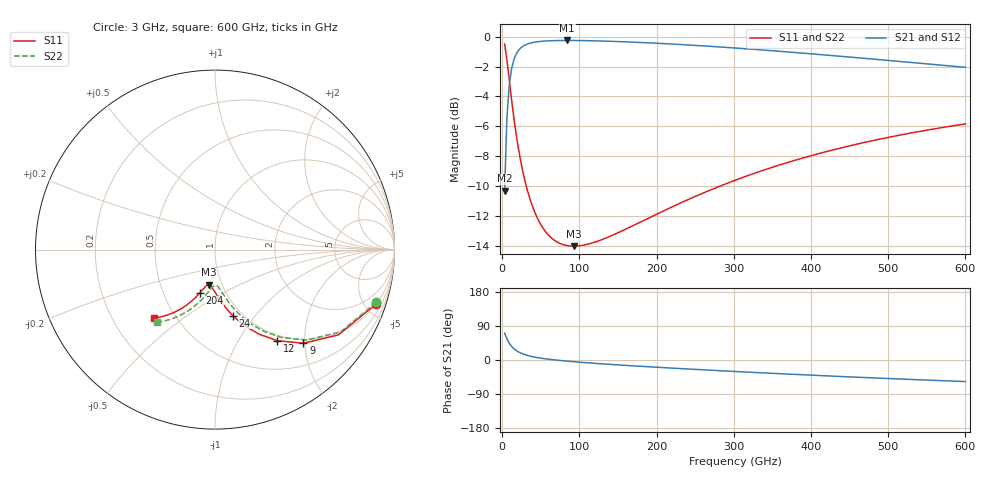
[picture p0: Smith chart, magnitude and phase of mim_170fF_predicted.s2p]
#  Hz  S  RI  R  50
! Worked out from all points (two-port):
!   200 points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, 3 GHz to 600 GHz, reference 50 ohm
!   highest |S21| = -0.25 dB at 84 GHz (marker M1); lowest = -10.3 dB at 3 GHz (marker M2)
!   |S21| within 3 dB of the highest: 9.018 GHz to end of sweep
!   lowest |S11| = -14.0 dB at 93 GHz (marker M3), VSWR 1.50, Z = 43.4 - j17.7 ohm
!   |S11| at or under -10 dB: 31 GHz to 282.8 GHz (251.8 GHz wide, 160 % of centre)
!   |S22| runs from -14.1 to -0.5 dB; largest |S21 - S12| = 0
!   S11 on the Smith chart (normalised r, x): 3 GHz: 1.02, -5.86; 9 GHz: 0.92, -1.97; 12 GHz: 0.91, -1.49; 24 GHz: 0.90, -0.78; 204 GHz: 0.75, -0.39; 600 GHz: 0.38, -0.39
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3e9  0.895 -0.3051  0.1004 0.2876  0.1004 0.2876  0.899 -0.2943
6e9  0.6878 -0.4751  0.3017 0.444  0.3017 0.444  0.6992 -0.4585
9e9  0.4924 -0.5217  0.4913 0.4804  0.4913 0.4804  0.511 -0.5037
1.2e10  0.348 -0.5075  0.6314 0.4578  0.6314 0.4578  0.3718 -0.4903
1.5e10  0.2486 -0.4725  0.7276 0.415  0.7276 0.415  0.276 -0.4569
1.8e10  0.1805 -0.4342  0.7933 0.369  0.7933 0.369  0.2104 -0.4204
2.1e10  0.1331 -0.3987  0.8389 0.3257  0.8389 0.3257  0.1646 -0.3865
2.4e10  0.0991 -0.3676  0.8714 0.2867  0.8714 0.2867  0.1319 -0.3568
3e10  0.0554 -0.3186  0.9125 0.2215  0.9125 0.2215  0.0897 -0.3102
3.6e10  0.0295 -0.2834  0.936 0.1698  0.936 0.1698  0.0647 -0.2769
4.8e10  0.00152 -0.2393  0.9591 0.0921  0.9591 0.0921  0.0376 -0.2357
6.3e10  -0.0158 -0.2117  0.9692 0.022  0.9692 0.022  0.0206 -0.2107
8.4e10  -0.0295 -0.1972  0.97 -0.0519  0.97 -0.0519  0.00699 -0.1989
9.3e10  -0.034 -0.1957  0.968 -0.0787  0.968 -0.0787  0.00245 -0.1983
1.05e11  -0.0394 -0.1962  0.9638 -0.1115  0.9638 -0.1115  -0.00316 -0.2
1.5e11  -0.0591 -0.2122  0.9386 -0.216  0.9386 -0.216  -0.0237 -0.2198
2.04e11  -0.0856 -0.2425  0.8946 -0.3186  0.8946 -0.3186  -0.0518 -0.2537
2.52e11  -0.1126 -0.2706  0.8467 -0.3955  0.8467 -0.3955  -0.0804 -0.2846
3.03e11  -0.1441 -0.2983  0.7895 -0.4644  0.7895 -0.4644  -0.114 -0.3148
4.02e11  -0.21 -0.341  0.6686 -0.5651  0.6686 -0.5651  -0.1842 -0.3611
5.01e11  -0.2765 -0.368  0.546 -0.6281  0.546 -0.6281  -0.2551 -0.3903
6e11  -0.339 -0.3814  0.4306 -0.6617  0.4306 -0.6617  -0.3217 -0.4049
